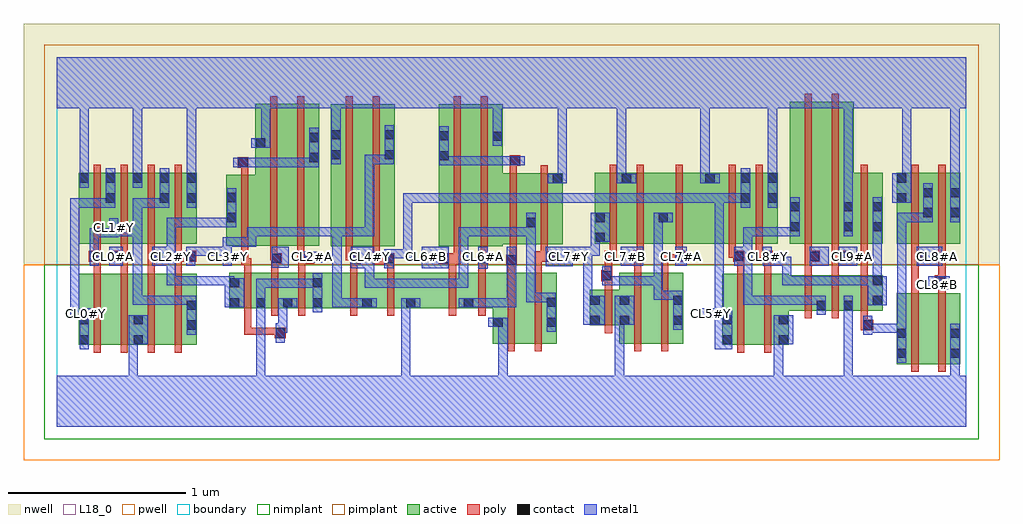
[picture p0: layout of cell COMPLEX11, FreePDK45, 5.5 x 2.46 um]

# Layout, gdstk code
import gdstk
lib = gdstk.Library(unit=1e-6, precision=1e-09)
def R(c, l, rs):  # rectangles x0, y0, x1, y1
    for r in rs: c.add(gdstk.rectangle(r[:2], r[2:], *l))
def A(c, l, x, y, w, h, nx, ny, dx, dy):  # array of equal rectangles
    R(c, l, [(x+i*dx, y+j*dy, x+i*dx+w, y+j*dy+h) for i in range(nx) for j in range(ny)])
active = (1, 0)
pwell = (2, 0)
nwell = (3, 0)
nimplant = (4, 0)
pimplant = (5, 0)
poly = (9, 0)
contact = (10, 0)
metal1 = (11, 0)
L18_0 = (18, 0)
boundary = (235, 0)

complex11 = lib.new_cell('COMPLEX11')
A(complex11, active, 0.272, 1.03, 0.06, 0.4, 4, 1, 0.152, 0)
A(complex11, active, 0.272, 1.03, 0.212, 0.4, 3, 1, 0.152, 0)
R(complex11, active, [(4.728,0.352,4.908,0.752), (4.908,0.352,5.088,0.752), (5.028,0.352,5.088,0.752), (4.728,0.356,4.788,0.752), (0.124,0.46,0.184,0.86), (0.124,0.46,0.304,0.86), (0.304,0.46,0.488,0.86), (0.428,0.46,0.608,0.86), (0.428,0.46,0.488,0.632), (0.608,0.46,0.788,0.86), (3.746,0.46,3.806,0.86), (3.746,0.46,3.926,0.86), (3.926,0.46,4.122,0.86), (4.062,0.46,4.122,0.654), (0.728,0.468,0.788,0.86), (2.454,0.468,2.634,0.868), (2.454,0.468,2.514,0.668), (2.634,0.468,2.814,0.868), (2.754,0.468,2.814,0.868), (3.166,0.468,3.346,0.868), (3.346,0.468,3.526,0.868), (3.466,0.468,3.526,0.868), (3,0.57,3.06,0.77), (3,0.57,3.226,0.77), (3.166,0.57,3.226,0.742), (4.062,0.654,4.334,0.854), (4.274,0.654,4.486,0.854), (4.274,0.654,4.334,0.714), (4.426,0.654,4.65,0.854), (4.426,0.654,4.486,0.854), (0.97,0.668,1.03,0.868), (0.97,0.668,1.178,0.868), (1.118,0.668,1.178,0.868), (1.118,0.668,1.33,0.868), (1.27,0.668,1.33,0.868), (1.27,0.668,1.498,0.868), (1.438,0.668,1.498,0.868), (1.438,0.668,1.776,0.868), (1.716,0.668,1.776,0.728), (1.716,0.668,2.022,0.868), (1.962,0.668,2.022,0.728), (1.962,0.668,2.348,0.868), (2.288,0.668,2.348,0.728), (2.288,0.668,2.514,0.868), (4.59,0.668,4.65,0.854), (1.542,1.016,1.722,1.816), (1.542,1.016,1.602,1.816), (1.722,1.016,1.902,1.816), (1.842,1.016,1.902,1.724), (2.15,1.016,2.33,1.816), (2.15,1.016,2.234,1.724), (2.33,1.016,2.51,1.816), (0.954,1.018,1.014,1.418), (0.954,1.018,1.178,1.418), (1.118,1.018,1.298,1.818), (1.298,1.018,1.478,1.818), (1.418,1.018,1.478,1.724), (2.45,1.028,2.7,1.428), (2.64,1.028,2.848,1.428), (0.124,1.03,0.184,1.43), (0.124,1.03,0.332,1.43), (3.03,1.03,3.238,1.43), (3.03,1.03,3.09,1.356), (3.178,1.03,3.238,1.43), (3.178,1.03,3.444,1.43), (3.384,1.03,3.708,1.43), (3.384,1.03,3.444,1.356), (3.648,1.03,3.708,1.43), (3.648,1.03,3.908,1.43), (3.848,1.03,3.908,1.43), (3.848,1.03,4.06,1.43), (4,1.03,4.06,1.43), (4.126,1.03,4.306,1.83), (4.126,1.03,4.21,1.724), (4.306,1.03,4.486,1.83), (4.426,1.03,4.65,1.43), (4.59,1.03,4.65,1.43), (4.728,1.03,4.788,1.43), (4.728,1.03,4.936,1.43), (4.876,1.03,4.936,1.43), (4.876,1.03,5.088,1.43), (5.028,1.03,5.088,1.43), (4.426,1.068,4.486,1.83), (1.118,1.072,1.178,1.628), (2.64,1.12,2.7,1.356), (2.788,1.164,2.848,1.428), (2.45,1.268,2.51,1.666)])
R(complex11, pwell, [(-0.188,-0.188,5.308,0.912)])
R(complex11, nwell, [(-0.188,0.912,5.308,2.268)])
R(complex11, nimplant, [(-0.072,-0.072,5.192,0.912)])
R(complex11, pimplant, [(-0.072,0.912,5.192,2.152)])
A(complex11, poly, 0.208, 0.416, 0.04, 0.488, 4, 2, 0.152, 0.57)
A(complex11, poly, 1.054, 0.624, 0.04, 0.288, 3, 1, 0.152, 0)
A(complex11, poly, 0.208, 0.864, 0.04, 0.106, 4, 1, 0.152, 0)
A(complex11, poly, 0.208, 0.95, 0.04, 0.076, 4, 1, 0.152, 0)
R(complex11, poly, [(4.812,0.308,4.852,0.796), (4.964,0.308,5.004,0.796), (3.83,0.416,3.87,0.904), (3.982,0.416,4.022,0.904), (2.538,0.424,2.578,0.912), (2.69,0.424,2.73,0.912), (3.25,0.424,3.29,0.912), (3.402,0.424,3.442,0.912), (1.228,0.498,1.288,0.558), (1.054,0.518,1.094,0.558), (1.054,0.518,1.094,0.558), (1.054,0.518,1.094,0.558), (1.054,0.518,1.268,0.558), (1.054,0.518,1.094,0.664), (3.086,0.526,3.126,0.814), (4.526,0.542,4.596,0.602), (4.526,0.562,4.566,0.65), (4.21,0.61,4.25,0.898), (4.362,0.61,4.402,0.898), (4.526,0.61,4.566,0.898), (1.652,0.624,1.692,0.912), (1.86,0.624,1.9,0.912), (2.208,0.624,2.248,0.912), (2.374,0.624,2.414,0.912), (4.812,0.756,4.852,0.97), (4.964,0.756,5.004,0.832), (3.086,0.774,3.126,0.86), (4.944,0.792,5.004,0.852), (4.964,0.812,5.004,1.026), (4.964,0.812,5.004,0.852), (4.964,0.812,5.004,0.852), (3.066,0.82,3.126,0.88), (3.086,0.84,3.126,0.99), (4.21,0.858,4.25,0.97), (4.362,0.858,4.402,0.97), (4.526,0.858,4.566,0.99), (3.83,0.864,3.87,0.97), (3.982,0.864,4.022,0.97), (1.054,0.872,1.094,0.948), (1.206,0.872,1.246,0.958), (1.358,0.872,1.398,0.958), (1.652,0.872,1.692,0.956), (1.86,0.872,1.9,0.956), (2.208,0.872,2.248,0.956), (2.374,0.872,2.414,0.956), (2.538,0.872,2.578,0.948), (2.69,0.872,2.73,0.968), (3.25,0.872,3.29,0.97), (3.402,0.872,3.442,0.97), (1.038,0.908,1.078,0.948), (1.038,0.908,1.078,0.948), (1.038,0.908,1.078,1.014), (1.038,0.908,1.094,0.948), (2.53,0.908,2.59,0.968), (1.652,0.916,1.712,0.976), (1.778,0.916,1.9,0.976), (1.86,0.916,1.9,0.956), (1.86,0.916,1.9,0.956), (2.15,0.916,2.274,0.976), (2.208,0.916,2.248,0.956), (2.208,0.916,2.248,0.956), (2.37,0.916,2.43,0.976), (1.206,0.918,1.266,0.978), (1.358,0.918,1.448,0.978), (2.55,0.928,2.59,0.968), (2.55,0.928,2.59,0.968), (2.55,0.928,2.59,1.024), (2.69,0.928,2.81,0.988), (0.18,0.93,0.248,0.99), (0.208,0.93,0.248,0.97), (0.208,0.93,0.248,0.97), (0.314,0.93,0.4,0.99), (0.512,0.93,0.594,0.99), (0.664,0.93,0.704,0.97), (0.664,0.93,0.704,0.97), (0.664,0.93,0.784,0.99), (3.246,0.93,3.306,0.99), (3.25,0.93,3.29,0.97), (3.25,0.93,3.29,0.97), (3.402,0.93,3.518,0.97), (3.478,0.93,3.518,0.97), (3.478,0.93,3.538,0.99), (3.81,0.93,3.87,0.99), (3.97,0.93,4.03,0.99), (4.21,0.93,4.25,0.97), (4.21,0.93,4.25,0.97), (4.21,0.93,4.296,0.99), (4.362,0.93,4.402,0.97), (4.362,0.93,4.402,0.97), (4.362,0.93,4.46,0.99), (4.812,0.93,4.852,0.97), (4.812,0.93,4.852,0.97), (4.812,0.93,4.898,0.99), (1.626,0.936,1.666,1.012), (1.626,0.936,1.692,0.976), (1.652,0.936,1.692,0.976), (1.778,0.936,1.818,1.012), (2.234,0.936,2.274,1.012), (2.386,0.936,2.426,0.976), (2.386,0.936,2.426,0.976), (2.386,0.936,2.426,1.012), (1.202,0.938,1.242,1.014), (1.202,0.938,1.246,0.978), (1.206,0.938,1.246,0.978), (1.354,0.938,1.394,1.014), (1.354,0.938,1.398,0.978), (1.358,0.938,1.398,0.978), (2.724,0.948,2.764,0.988), (2.724,0.948,2.764,0.988), (2.724,0.948,2.764,1.024), (0.36,0.95,0.4,0.99), (0.36,0.95,0.4,0.99), (0.512,0.95,0.552,0.99), (0.512,0.95,0.552,0.99), (3.086,0.95,3.154,0.99), (3.114,0.95,3.154,1.026), (3.266,0.95,3.306,1.026), (3.484,0.95,3.524,1.026), (3.784,0.95,3.824,1.026), (3.784,0.95,3.85,0.99), (3.81,0.95,3.85,0.99), (3.936,0.95,3.976,1.026), (3.936,0.95,4.01,0.99), (3.97,0.95,4.01,0.99), (4.21,0.95,4.25,1.026), (4.362,0.95,4.402,1.026), (4.526,0.95,4.566,0.99), (4.526,0.95,4.566,0.99), (4.526,0.95,4.566,0.99), (4.526,0.95,4.566,1.026), (4.812,0.95,4.852,1.026), (1.626,0.972,1.666,1.86), (1.778,0.972,1.818,1.86), (2.234,0.972,2.274,1.86), (2.386,0.972,2.426,1.86), (1.038,0.974,1.078,1.462), (1.202,0.974,1.242,1.862), (1.354,0.974,1.394,1.862), (2.55,0.984,2.59,1.472), (2.724,0.984,2.764,1.472), (3.114,0.986,3.154,1.474), (3.266,0.986,3.306,1.474), (3.484,0.986,3.524,1.474), (3.784,0.986,3.824,1.474), (3.936,0.986,3.976,1.474), (4.21,0.986,4.25,1.874), (4.362,0.986,4.402,1.874), (4.526,0.986,4.566,1.474), (4.812,0.986,4.852,1.474), (4.964,0.986,5.004,1.474), (1.038,1.422,1.078,1.498), (2.55,1.432,2.59,1.508), (1.018,1.458,1.078,1.518), (2.55,1.468,2.61,1.528)])
A(complex11, contact, 0.276, 1.374, 0.052, 0.052, 4, 1, 0.152, 0)
R(complex11, contact, [(4.732,0.388,4.784,0.44), (5.032,0.388,5.084,0.44), (0.128,0.464,0.18,0.516), (0.432,0.464,0.484,0.516), (3.75,0.464,3.802,0.516), (4.066,0.464,4.118,0.516), (4.732,0.5,4.784,0.552), (5.032,0.5,5.084,0.552), (1.232,0.502,1.284,0.554), (0.732,0.546,0.784,0.598), (4.54,0.546,4.592,0.598), (2.458,0.562,2.51,0.614), (2.758,0.562,2.81,0.614), (3.004,0.574,3.056,0.626), (3.17,0.574,3.222,0.626), (3.47,0.574,3.522,0.626), (0.128,0.576,0.18,0.628), (0.432,0.576,0.484,0.628), (3.75,0.576,3.802,0.628), (4.066,0.576,4.118,0.628), (0.732,0.658,0.784,0.71), (4.278,0.658,4.33,0.71), (4.43,0.658,4.482,0.71), (0.974,0.672,1.026,0.724), (1.122,0.672,1.174,0.724), (1.274,0.672,1.326,0.724), (1.442,0.672,1.494,0.724), (1.72,0.672,1.772,0.724), (1.966,0.672,2.018,0.724), (2.292,0.672,2.344,0.724), (2.758,0.674,2.81,0.726), (4.594,0.684,4.646,0.736), (3.004,0.686,3.056,0.738), (3.17,0.686,3.222,0.738), (3.47,0.686,3.522,0.738), (0.974,0.784,1.026,0.836), (1.442,0.784,1.494,0.836), (4.594,0.796,4.646,0.848), (4.948,0.796,5,0.848), (3.07,0.824,3.122,0.876), (2.534,0.912,2.586,0.964), (1.656,0.92,1.708,0.972), (1.844,0.92,1.896,0.972), (2.154,0.92,2.206,0.972), (2.374,0.92,2.426,0.972), (1.21,0.922,1.262,0.974), (1.392,0.922,1.444,0.974), (2.754,0.932,2.806,0.984), (0.184,0.934,0.236,0.986), (0.318,0.934,0.37,0.986), (0.538,0.934,0.59,0.986), (0.728,0.934,0.78,0.986), (3.25,0.934,3.302,0.986), (3.482,0.934,3.534,0.986), (3.814,0.934,3.866,0.986), (3.974,0.934,4.026,0.986), (4.24,0.934,4.292,0.986), (4.404,0.934,4.456,0.986), (4.842,0.934,4.894,0.986), (3.034,1.04,3.086,1.092), (4.13,1.1,4.182,1.152), (4.43,1.1,4.482,1.152), (4.594,1.1,4.646,1.152), (2.644,1.124,2.696,1.176), (0.958,1.152,1.01,1.204), (3.034,1.152,3.086,1.204), (3.388,1.152,3.44,1.204), (4.88,1.18,4.932,1.232), (5.032,1.18,5.084,1.232), (4.13,1.212,4.182,1.264), (4.43,1.212,4.482,1.264), (4.594,1.212,4.646,1.264), (0.276,1.262,0.328,1.314), (0.58,1.262,0.632,1.314), (0.732,1.262,0.784,1.314), (3.852,1.262,3.904,1.314), (4.004,1.262,4.056,1.314), (4.732,1.262,4.784,1.314), (0.958,1.264,1.01,1.316), (4.88,1.292,4.932,1.344), (5.032,1.292,5.084,1.344), (2.792,1.372,2.844,1.424), (3.182,1.372,3.234,1.424), (3.652,1.372,3.704,1.424), (0.128,1.374,0.18,1.426), (3.852,1.374,3.904,1.426), (4.004,1.374,4.056,1.426), (4.732,1.374,4.784,1.426), (1.022,1.462,1.074,1.514), (2.554,1.472,2.606,1.524), (1.422,1.49,1.474,1.542), (2.154,1.5,2.206,1.552), (1.546,1.506,1.598,1.558), (1.846,1.506,1.898,1.558), (1.122,1.572,1.174,1.624), (1.422,1.602,1.474,1.654), (2.454,1.61,2.506,1.662), (2.154,1.612,2.206,1.664), (1.546,1.618,1.598,1.67), (1.846,1.618,1.898,1.67)])
R(complex11, metal1, [(0,0,5.12,0.288), (0.404,0.236,0.456,0.516), (1.122,0.236,1.174,0.288), (1.122,0.236,1.174,0.288), (1.122,0.236,1.174,0.288), (1.122,0.236,1.174,0.288), (1.122,0.236,1.174,0.288), (1.122,0.236,1.174,0.288), (1.122,0.236,1.174,0.696), (1.938,0.236,1.99,0.288), (1.938,0.236,1.99,0.288), (1.938,0.236,1.99,0.288), (1.938,0.236,1.99,0.288), (1.938,0.236,1.99,0.288), (1.938,0.236,1.99,0.288), (1.938,0.236,1.99,0.724), (2.486,0.236,2.538,0.614), (3.142,0.236,3.194,0.626), (4.038,0.236,4.09,0.288), (4.038,0.236,4.09,0.288), (4.038,0.236,4.09,0.516), (4.43,0.236,4.482,0.288), (4.43,0.236,4.482,0.288), (4.43,0.236,4.482,0.682), (5.032,0.236,5.084,0.288), (5.032,0.236,5.084,0.288), (5.032,0.236,5.084,0.412), (4.732,0.36,4.784,0.58), (5.032,0.36,5.084,0.58), (0.128,0.436,0.18,0.656), (3.704,0.436,3.802,0.656), (0.404,0.464,0.456,0.516), (0.404,0.464,0.456,0.516), (0.404,0.464,0.512,0.628), (4.038,0.464,4.146,0.628), (1.232,0.474,1.284,0.582), (0.732,0.518,0.784,0.738), (4.54,0.518,4.592,0.626), (4.54,0.528,4.592,0.58), (4.54,0.528,4.592,0.58), (4.54,0.528,4.592,0.58), (4.54,0.528,4.592,0.58), (4.54,0.528,4.784,0.58), (4.732,0.528,4.784,0.58), (4.732,0.528,4.784,0.58), (4.732,0.528,4.784,1.204), (1.232,0.53,1.298,0.582), (1.246,0.53,1.298,0.582), (1.246,0.53,1.298,0.724), (2.758,0.534,2.81,0.754), (3.47,0.546,3.522,0.766), (2.43,0.562,2.538,0.614), (2.486,0.562,2.538,0.614), (2.486,0.562,2.538,0.614), (2.964,0.574,3.084,0.738), (3.142,0.574,3.194,0.626), (3.142,0.574,3.194,0.626), (3.142,0.574,3.25,0.738), (0.128,0.604,0.18,0.666), (3.704,0.604,3.756,0.666), (0.074,0.614,0.126,0.666), (0.074,0.614,0.126,0.666), (0.074,0.614,0.126,1.286), (0.074,0.614,0.214,0.666), (3.626,0.614,3.756,0.666), (3.704,0.614,3.756,0.666), (3.704,0.614,3.756,0.666), (3.704,0.614,3.756,1.314), (4.278,0.63,4.33,0.738), (4.43,0.63,4.482,0.682), (4.43,0.63,4.482,0.682), (4.43,0.63,4.482,0.682), (4.43,0.63,4.482,0.682), (4.43,0.63,4.482,0.738), (1.122,0.644,1.174,0.752), (1.442,0.644,1.494,0.864), (0.946,0.672,1.054,0.836), (1.246,0.672,1.354,0.724), (1.552,0.672,1.604,0.724), (1.552,0.672,1.604,0.724), (1.552,0.672,1.604,0.724), (1.552,0.672,1.744,0.724), (1.552,0.672,1.604,1.124), (1.692,0.672,1.744,0.724), (1.692,0.672,1.744,0.724), (1.692,0.672,1.8,0.724), (1.938,0.672,2.046,0.724), (2.264,0.672,2.372,0.724), (2.32,0.672,2.426,0.724), (2.374,0.672,2.426,0.724), (2.374,0.672,2.586,0.724), (2.534,0.672,2.586,0.724), (2.534,0.672,2.586,0.958), (4.566,0.684,4.674,0.848), (0.428,0.686,0.48,0.738), (0.428,0.686,0.48,0.738), (0.428,0.686,0.48,0.738), (0.428,0.686,0.59,0.738), (0.428,0.686,0.48,1.124), (0.538,0.686,0.59,0.738), (0.538,0.686,0.59,0.738), (0.538,0.686,0.59,0.738), (0.538,0.686,0.784,0.738), (0.732,0.686,0.784,0.738), (0.732,0.686,0.784,0.738), (2.964,0.686,3.016,1.014), (3.864,0.686,3.916,0.738), (3.864,0.686,4.026,0.738), (3.864,0.686,3.916,0.958), (3.974,0.686,4.026,0.738), (3.974,0.686,4.026,0.738), (3.974,0.686,4.026,0.738), (3.974,0.686,4.22,0.738), (4.168,0.686,4.22,0.738), (4.168,0.686,4.22,0.738), (4.168,0.686,4.22,0.738), (4.168,0.686,4.33,0.738), (1.122,0.7,1.174,0.834), (2.644,0.702,2.696,0.754), (2.644,0.702,2.81,0.754), (2.644,0.702,2.696,1.124), (2.758,0.702,2.81,0.754), (2.758,0.702,2.81,0.754), (3.36,0.714,3.412,0.766), (3.36,0.714,3.522,0.766), (3.36,0.714,3.412,0.848), (3.47,0.714,3.522,0.766), (3.47,0.714,3.522,0.766), (4.906,0.774,5.028,0.848), (1.122,0.782,1.174,0.834), (1.122,0.782,1.284,0.834), (1.232,0.782,1.284,0.834), (1.232,0.782,1.284,0.834), (1.232,0.782,1.284,0.834), (1.232,0.782,1.488,0.834), (1.436,0.782,1.488,0.834), (1.436,0.782,1.494,0.834), (1.734,0.782,1.786,0.944), (1.734,0.782,1.894,0.834), (1.842,0.782,1.894,0.834), (1.842,0.782,1.978,0.834), (1.926,0.782,1.978,0.834), (1.926,0.782,2.206,0.834), (2.154,0.782,2.206,0.834), (2.154,0.782,2.206,0.834), (2.154,0.782,2.206,0.834), (2.154,0.782,2.316,0.834), (2.264,0.782,2.316,0.834), (2.264,0.782,2.316,1.124), (0.946,0.784,0.998,0.848), (0.618,0.796,0.78,0.848), (0.618,0.796,0.67,0.958), (0.728,0.796,0.78,0.848), (0.728,0.796,0.78,0.848), (0.728,0.796,0.78,0.848), (0.728,0.796,0.998,0.848), (0.946,0.796,0.998,0.848), (3.07,0.796,3.122,0.904), (3.07,0.796,3.302,0.848), (3.25,0.796,3.302,0.848), (3.25,0.796,3.302,0.848), (3.25,0.796,3.302,0.848), (3.25,0.796,3.412,0.848), (3.36,0.796,3.412,0.848), (3.36,0.796,3.412,0.848), (3.36,0.796,3.412,0.848), (3.36,0.796,3.412,1.204), (4.084,0.796,4.136,0.848), (4.084,0.796,4.136,0.848), (4.084,0.796,4.33,0.848), (4.084,0.796,4.136,0.958), (4.278,0.796,4.33,0.848), (4.278,0.796,4.33,0.848), (4.278,0.796,4.33,0.848), (4.278,0.796,4.482,0.848), (4.43,0.796,4.482,0.848), (4.43,0.796,4.646,0.848), (4.594,0.796,4.646,0.848), (4.594,0.796,4.646,0.848), (4.594,0.796,4.646,0.848), (4.594,0.796,4.646,0.848), (4.594,0.796,4.646,1.124), (2.534,0.884,2.586,0.992), (2.374,0.89,2.426,1.014), (1.656,0.892,1.786,1.014), (1.734,0.892,1.786,0.944), (1.844,0.892,1.896,1), (2.054,0.892,2.206,1.014), (1.21,0.894,1.306,1.014), (2.754,0.904,2.906,1.014), (0.184,0.906,0.236,1.118), (0.294,0.906,0.37,1.014), (0.538,0.906,0.666,1.014), (0.614,0.906,0.67,0.958), (0.618,0.906,0.67,1.176), (0.728,0.906,0.78,1.014), (0.934,0.906,0.986,1.066), (2.534,0.906,2.586,0.958), (2.534,0.906,2.586,1.014), (3.174,0.906,3.302,1.014), (3.482,0.906,3.546,1.014), (3.814,0.906,3.866,1.014), (3.814,0.906,3.916,0.958), (3.864,0.906,3.916,0.958), (3.864,0.906,3.916,1.124), (3.974,0.906,4.026,0.958), (3.974,0.906,4.026,0.958), (3.974,0.906,4.026,1.014), (3.974,0.906,4.136,0.958), (4.24,0.906,4.346,1.014), (4.404,0.906,4.506,1.014), (4.842,0.906,4.986,1.014), (1.364,0.922,1.494,0.986), (1.844,0.948,1.996,1), (1.944,0.948,1.996,1), (1.944,0.948,2.002,1), (1.95,0.948,2.002,1), (1.95,0.948,2.002,1.314), (0.728,0.962,0.78,1.014), (0.728,0.962,0.78,1.014), (0.728,0.962,0.986,1.014), (2.854,0.962,2.906,1.014), (2.854,0.962,2.906,1.014), (2.854,0.962,3.016,1.014), (2.964,0.962,3.016,1.014), (2.964,0.962,3.016,1.014), (2.964,0.962,3.058,1.014), (3.006,0.962,3.058,1.092), (0.934,1.014,0.986,1.066), (0.934,1.014,0.986,1.066), (0.934,1.014,1.124,1.066), (1.072,1.014,1.124,1.124), (3.006,1.04,3.114,1.204), (0.184,1.066,0.346,1.118), (0.294,1.066,0.346,1.174), (0.294,1.072,0.48,1.124), (0.428,1.072,0.48,1.124), (0.428,1.072,0.48,1.124), (0.428,1.072,0.48,1.124), (0.428,1.072,0.48,1.248), (1.072,1.072,1.284,1.124), (1.232,1.072,1.284,1.124), (1.232,1.072,1.284,1.124), (1.232,1.072,1.284,1.124), (1.232,1.072,1.416,1.124), (1.364,1.072,1.416,1.124), (1.364,1.072,1.416,1.124), (1.364,1.072,1.416,1.124), (1.364,1.072,1.604,1.124), (1.552,1.072,1.604,1.124), (1.552,1.072,1.604,1.124), (1.552,1.072,1.604,1.124), (1.552,1.072,1.786,1.124), (1.734,1.072,1.786,1.124), (1.734,1.072,1.786,1.53), (2.264,1.072,2.316,1.124), (2.264,1.072,2.468,1.124), (2.416,1.072,2.468,1.124), (2.416,1.072,2.586,1.124), (2.534,1.072,2.586,1.124), (2.534,1.072,2.586,1.124), (2.534,1.072,2.586,1.124), (2.534,1.072,2.696,1.124), (2.644,1.072,2.696,1.124), (2.644,1.072,2.696,1.124), (2.644,1.072,2.696,1.124), (2.644,1.072,2.696,1.148), (3.864,1.072,3.916,1.124), (3.864,1.072,4.026,1.124), (3.974,1.072,4.026,1.124), (3.974,1.072,4.026,1.124), (3.974,1.072,4.026,1.124), (3.974,1.072,4.182,1.124), (4.13,1.072,4.182,1.124), (4.13,1.072,4.182,1.124), (4.13,1.072,4.182,1.292), (4.43,1.072,4.482,1.292), (4.594,1.072,4.646,1.124), (4.594,1.072,4.646,1.124), (4.594,1.072,4.646,1.292), (2.644,1.096,2.696,1.204), (0.618,1.124,0.67,1.176), (0.618,1.124,0.67,1.176), (0.618,1.124,0.67,1.176), (0.618,1.124,0.876,1.176), (0.824,1.124,0.876,1.176), (0.824,1.124,0.876,1.176), (0.824,1.124,0.876,1.176), (0.824,1.124,1.01,1.176), (0.958,1.124,1.01,1.344), (3.36,1.152,3.468,1.204), (4.732,1.152,4.784,1.204), (4.732,1.152,4.784,1.204), (4.732,1.152,4.784,1.204), (4.732,1.152,4.784,1.204), (4.732,1.152,4.784,1.204), (4.732,1.152,4.784,1.204), (4.732,1.152,4.784,1.204), (4.732,1.152,4.932,1.204), (4.88,1.152,4.932,1.372), (5.032,1.152,5.084,1.372), (0.428,1.196,0.48,1.248), (0.428,1.196,0.48,1.286), (0.074,1.234,0.126,1.286), (0.074,1.234,0.126,1.286), (0.074,1.234,0.126,1.286), (0.074,1.234,0.328,1.286), (0.276,1.234,0.328,1.454), (0.428,1.234,0.48,1.286), (0.428,1.234,0.632,1.286), (0.58,1.234,0.632,1.286), (0.58,1.234,0.632,1.286), (0.58,1.234,0.632,1.454), (0.732,1.234,0.784,1.454), (3.852,1.234,3.904,1.454), (4.004,1.234,4.056,1.454), (4.43,1.24,4.482,1.844), (1.95,1.262,2.002,1.314), (1.95,1.262,2.316,1.314), (2.264,1.262,2.316,1.314), (2.264,1.262,2.316,1.314), (2.264,1.262,2.316,1.314), (2.264,1.262,2.426,1.314), (2.374,1.262,2.426,1.314), (2.374,1.262,2.586,1.314), (2.534,1.262,2.586,1.314), (2.534,1.262,2.586,1.314), (2.534,1.262,2.586,1.314), (2.534,1.262,2.696,1.314), (2.644,1.262,2.696,1.314), (2.644,1.262,2.696,1.314), (2.644,1.262,2.696,1.314), (2.644,1.262,2.806,1.314), (2.754,1.262,2.806,1.314), (2.754,1.262,2.806,1.314), (2.754,1.262,2.806,1.314), (2.754,1.262,3.016,1.314), (2.964,1.262,3.016,1.314), (2.964,1.262,3.016,1.314), (2.964,1.262,3.016,1.314), (2.964,1.262,3.286,1.314), (3.234,1.262,3.286,1.314), (3.234,1.262,3.286,1.314), (3.234,1.262,3.286,1.314), (3.234,1.262,3.412,1.314), (3.36,1.262,3.412,1.314), (3.36,1.262,3.412,1.314), (3.36,1.262,3.412,1.314), (3.36,1.262,3.756,1.314), (3.704,1.262,3.756,1.314), (3.704,1.262,3.756,1.314), (3.704,1.262,3.756,1.314), (3.704,1.262,3.756,1.314), (3.704,1.262,3.756,1.314), (3.704,1.262,3.904,1.314), (3.852,1.262,3.904,1.314), (3.852,1.262,3.904,1.314), (4.704,1.262,4.812,1.426), (5.032,1.32,5.084,1.372), (5.032,1.32,5.084,1.372), (5.032,1.32,5.084,1.844), (0.128,1.346,0.18,1.454), (0.428,1.346,0.48,1.454), (2.764,1.372,2.872,1.424), (2.82,1.372,2.872,1.844), (3.154,1.372,3.206,1.424), (3.154,1.372,3.206,1.424), (3.154,1.372,3.206,1.844), (3.154,1.372,3.262,1.424), (3.624,1.372,3.676,1.424), (3.624,1.372,3.676,1.424), (3.624,1.372,3.676,1.424), (3.624,1.372,3.676,1.424), (3.624,1.372,3.676,1.424), (3.624,1.372,3.676,1.424), (3.624,1.372,3.676,1.844), (3.624,1.372,3.732,1.424), (4.76,1.374,4.812,1.844), (0.128,1.402,0.18,1.844), (0.428,1.402,0.48,1.844), (0.732,1.402,0.784,1.454), (0.732,1.402,0.784,1.454), (0.732,1.402,0.784,1.844), (4.004,1.402,4.056,1.454), (4.004,1.402,4.056,1.454), (4.004,1.402,4.056,1.454), (4.004,1.402,4.056,1.454), (4.004,1.402,4.056,1.454), (4.004,1.402,4.056,1.454), (4.004,1.402,4.056,1.844), (0.994,1.462,1.102,1.514), (1.05,1.462,1.102,1.514), (1.05,1.462,1.102,1.514), (1.05,1.462,1.284,1.514), (1.232,1.462,1.284,1.514), (1.232,1.462,1.284,1.514), (1.232,1.462,1.284,1.514), (1.232,1.462,1.474,1.514), (1.422,1.462,1.474,1.514), (1.422,1.462,1.474,1.514), (1.422,1.462,1.474,1.682), (2.154,1.472,2.206,1.524), (2.154,1.472,2.206,1.524), (2.154,1.472,2.206,1.692), (2.154,1.472,2.372,1.524), (2.32,1.472,2.372,1.524), (2.32,1.472,2.426,1.524), (2.374,1.472,2.426,1.524), (2.374,1.472,2.578,1.524), (2.526,1.472,2.578,1.524), (2.526,1.472,2.578,1.524), (2.526,1.472,2.634,1.524), (1.546,1.478,1.598,1.698), (1.734,1.478,1.786,1.53), (1.734,1.478,1.894,1.53), (1.842,1.478,1.894,1.53), (1.842,1.478,1.898,1.53), (1.846,1.478,1.898,1.698), (1.094,1.572,1.202,1.624), (1.15,1.572,1.202,1.844), (2.454,1.582,2.506,1.69), (2.454,1.638,2.506,1.844), (1.546,1.646,1.598,1.844), (0,1.792,5.12,2.08), (0.128,1.792,0.18,1.844), (0.128,1.792,0.18,1.844), (0.128,1.792,0.18,1.844), (0.128,1.792,0.18,1.844), (0.128,1.792,0.18,1.844), (0.128,1.792,0.18,1.844), (0.128,1.792,0.18,1.844), (0.128,1.792,0.18,1.844), (0.428,1.792,0.48,1.844), (0.428,1.792,0.48,1.844), (0.428,1.792,0.48,1.844), (0.428,1.792,0.48,1.844), (0.428,1.792,0.48,1.844), (0.428,1.792,0.48,1.844), (0.428,1.792,0.48,1.844), (0.428,1.792,0.48,1.844), (0.732,1.792,0.784,1.844), (0.732,1.792,0.784,1.844), (0.732,1.792,0.784,1.844), (0.732,1.792,0.784,1.844), (0.732,1.792,0.784,1.844), (0.732,1.792,0.784,1.844), (2.82,1.792,2.872,1.844), (2.82,1.792,2.872,1.844), (2.82,1.792,2.872,1.844), (2.82,1.792,2.872,1.844), (2.82,1.792,2.872,1.844), (2.82,1.792,2.872,1.844), (2.82,1.792,2.872,1.844), (2.82,1.792,2.872,1.844), (3.154,1.792,3.206,1.844), (3.154,1.792,3.206,1.844), (3.154,1.792,3.206,1.844), (3.154,1.792,3.206,1.844), (3.154,1.792,3.206,1.844), (3.154,1.792,3.206,1.844), (3.624,1.792,3.676,1.844), (3.624,1.792,3.676,1.844), (4.004,1.792,4.056,1.844), (4.004,1.792,4.056,1.844), (4.76,1.792,4.812,1.844), (4.76,1.792,4.812,1.844), (4.76,1.792,4.812,1.844), (4.76,1.792,4.812,1.844), (4.76,1.792,4.812,1.844), (4.76,1.792,4.812,1.844), (4.76,1.792,4.812,1.844), (4.76,1.792,4.812,1.844), (5.032,1.792,5.084,1.844), (5.032,1.792,5.084,1.844), (5.032,1.792,5.084,1.844), (5.032,1.792,5.084,1.844), (5.032,1.792,5.084,1.844), (5.032,1.792,5.084,1.844)])
A(complex11, L18_0, 0.294, 0.934, 0.052, 0.052, 4, 1, 0.32, 0)
A(complex11, L18_0, 1.414, 0.934, 0.052, 0.052, 4, 1, 0.32, 0)
A(complex11, L18_0, 2.534, 0.934, 0.052, 0.052, 5, 1, 0.32, 0)
R(complex11, L18_0, [(0,0,5.12,0.288), (0.404,0.236,0.456,0.516), (1.122,0.236,1.174,0.288), (1.122,0.236,1.174,0.288), (1.122,0.236,1.174,0.288), (1.122,0.236,1.174,0.288), (1.122,0.236,1.174,0.288), (1.122,0.236,1.174,0.288), (1.122,0.236,1.174,0.696), (1.938,0.236,1.99,0.288), (1.938,0.236,1.99,0.288), (1.938,0.236,1.99,0.288), (1.938,0.236,1.99,0.288), (1.938,0.236,1.99,0.288), (1.938,0.236,1.99,0.288), (1.938,0.236,1.99,0.724), (2.486,0.236,2.538,0.614), (3.142,0.236,3.194,0.626), (4.038,0.236,4.09,0.288), (4.038,0.236,4.09,0.288), (4.038,0.236,4.09,0.516), (4.43,0.236,4.482,0.288), (4.43,0.236,4.482,0.288), (4.43,0.236,4.482,0.682), (5.032,0.236,5.084,0.288), (5.032,0.236,5.084,0.288), (5.032,0.236,5.084,0.412), (5.032,0.36,5.084,0.58), (0.128,0.436,0.18,0.656), (3.704,0.436,3.802,0.656), (0.404,0.464,0.456,0.516), (0.404,0.464,0.456,0.516), (0.404,0.464,0.512,0.628), (4.038,0.464,4.146,0.628), (0.732,0.518,0.784,0.738), (2.758,0.534,2.81,0.754), (2.43,0.562,2.538,0.614), (2.486,0.562,2.538,0.614), (2.486,0.562,2.538,0.614), (2.964,0.574,3.084,0.738), (3.142,0.574,3.194,0.626), (3.142,0.574,3.194,0.626), (3.142,0.574,3.25,0.738), (0.128,0.604,0.18,0.666), (3.704,0.604,3.756,0.666), (0.074,0.614,0.214,0.666), (0.074,0.614,0.126,0.666), (0.074,0.614,0.126,0.666), (0.074,0.614,0.126,1.286), (0.134,0.614,0.186,0.666), (3.626,0.614,3.756,0.666), (3.654,0.614,3.706,0.666), (3.704,0.614,3.756,0.666), (3.704,0.614,3.756,0.666), (3.704,0.614,3.756,1.314), (4.278,0.63,4.33,0.738), (4.43,0.63,4.482,0.682), (4.43,0.63,4.482,0.682), (4.43,0.63,4.482,0.682), (4.43,0.63,4.482,0.682), (4.43,0.63,4.482,0.738), (1.122,0.644,1.174,0.752), (1.442,0.644,1.494,0.864), (0.946,0.672,1.054,0.836), (1.552,0.672,1.604,0.724), (1.552,0.672,1.604,0.724), (1.552,0.672,1.604,0.724), (1.552,0.672,1.604,1.124), (1.552,0.672,1.744,0.724), (1.692,0.672,1.744,0.724), (1.692,0.672,1.744,0.724), (1.692,0.672,1.8,0.724), (1.938,0.672,2.046,0.724), (2.264,0.672,2.372,0.724), (2.32,0.672,2.426,0.724), (2.374,0.672,2.426,0.724), (2.374,0.672,2.586,0.724), (2.534,0.672,2.586,0.724), (2.534,0.672,2.586,0.958), (4.566,0.684,4.674,0.848), (0.428,0.686,0.48,0.738), (0.428,0.686,0.48,0.738), (0.428,0.686,0.48,0.738), (0.428,0.686,0.59,0.738), (0.428,0.686,0.48,1.124), (0.538,0.686,0.59,0.738), (0.538,0.686,0.59,0.738), (0.538,0.686,0.59,0.738), (0.538,0.686,0.784,0.738), (0.732,0.686,0.784,0.738), (0.732,0.686,0.784,0.738), (2.964,0.686,3.016,1.014), (3.864,0.686,3.916,0.738), (3.864,0.686,4.026,0.738), (3.864,0.686,3.916,0.958), (3.974,0.686,4.026,0.738), (3.974,0.686,4.026,0.738), (3.974,0.686,4.026,0.738), (3.974,0.686,4.22,0.738), (4.168,0.686,4.22,0.738), (4.168,0.686,4.22,0.738), (4.168,0.686,4.22,0.738), (4.168,0.686,4.33,0.738), (1.122,0.7,1.174,0.834), (2.644,0.702,2.696,0.754), (2.644,0.702,2.696,1.124), (2.644,0.702,2.81,0.754), (2.758,0.702,2.81,0.754), (2.758,0.702,2.81,0.754), (4.906,0.774,5.028,0.848), (4.934,0.774,4.986,0.826), (1.122,0.782,1.174,0.834), (1.122,0.782,1.284,0.834), (1.232,0.782,1.284,0.834), (1.232,0.782,1.284,0.834), (1.232,0.782,1.284,0.834), (1.232,0.782,1.488,0.834), (1.436,0.782,1.488,0.834), (1.436,0.782,1.494,0.834), (1.734,0.782,1.786,0.944), (1.734,0.782,1.894,0.834), (1.842,0.782,1.894,0.834), (1.842,0.782,1.978,0.834), (1.926,0.782,1.978,0.834), (1.926,0.782,2.206,0.834), (2.154,0.782,2.206,0.834), (2.154,0.782,2.206,0.834), (2.154,0.782,2.206,0.834), (2.154,0.782,2.316,0.834), (2.264,0.782,2.316,0.834), (2.264,0.782,2.316,1.124), (0.946,0.784,0.998,0.848), (0.618,0.796,0.78,0.848), (0.618,0.796,0.67,0.958), (0.728,0.796,0.78,0.848), (0.728,0.796,0.78,0.848), (0.728,0.796,0.78,0.848), (0.728,0.796,0.998,0.848), (0.946,0.796,0.998,0.848), (4.084,0.796,4.136,0.848), (4.084,0.796,4.136,0.848), (4.084,0.796,4.136,0.958), (4.084,0.796,4.33,0.848), (4.278,0.796,4.33,0.848), (4.278,0.796,4.33,0.848), (4.278,0.796,4.33,0.848), (4.278,0.796,4.482,0.848), (4.43,0.796,4.482,0.848), (4.43,0.796,4.646,0.848), (4.594,0.796,4.646,0.848), (4.594,0.796,4.646,0.848), (4.594,0.796,4.646,0.848), (4.594,0.796,4.646,0.848), (4.594,0.796,4.646,1.124), (2.534,0.884,2.586,0.992), (2.374,0.89,2.426,1.014), (1.656,0.892,1.786,1.014), (1.734,0.892,1.786,0.944), (1.844,0.892,1.896,1), (2.054,0.892,2.206,1.014), (1.21,0.894,1.306,1.014), (2.754,0.904,2.906,1.014), (0.184,0.906,0.236,1.118), (0.294,0.906,0.37,1.014), (0.538,0.906,0.666,1.014), (0.614,0.906,0.67,0.958), (0.618,0.906,0.67,1.176), (0.728,0.906,0.78,1.014), (0.934,0.906,0.986,1.066), (2.534,0.906,2.586,0.958), (2.534,0.906,2.586,1.014), (3.174,0.906,3.302,1.014), (3.482,0.906,3.546,1.014), (3.814,0.906,3.866,1.014), (3.814,0.906,3.916,0.958), (3.864,0.906,3.916,0.958), (3.864,0.906,3.916,1.124), (3.974,0.906,4.026,0.958), (3.974,0.906,4.026,0.958), (3.974,0.906,4.026,1.014), (3.974,0.906,4.136,0.958), (4.24,0.906,4.346,1.014), (4.404,0.906,4.506,1.014), (4.842,0.906,4.986,1.014), (1.364,0.922,1.494,0.986), (3.974,0.934,4.026,0.986), (4.294,0.934,4.346,0.986), (4.454,0.934,4.506,0.986), (4.934,0.934,4.986,0.986), (1.844,0.948,1.996,1), (1.944,0.948,1.996,1), (1.944,0.948,2.002,1), (1.95,0.948,2.002,1), (1.95,0.948,2.002,1.314), (0.728,0.962,0.78,1.014), (0.728,0.962,0.78,1.014), (0.728,0.962,0.986,1.014), (2.854,0.962,2.906,1.014), (2.854,0.962,2.906,1.014), (2.854,0.962,3.016,1.014), (2.964,0.962,3.016,1.014), (2.964,0.962,3.016,1.014), (2.964,0.962,3.058,1.014), (3.006,0.962,3.058,1.092), (0.934,1.014,0.986,1.066), (0.934,1.014,0.986,1.066), (0.934,1.014,1.124,1.066), (1.072,1.014,1.124,1.124), (3.006,1.04,3.114,1.204), (0.184,1.066,0.346,1.118), (0.294,1.066,0.346,1.174), (0.294,1.072,0.48,1.124), (0.428,1.072,0.48,1.124), (0.428,1.072,0.48,1.124), (0.428,1.072,0.48,1.124), (0.428,1.072,0.48,1.248), (1.072,1.072,1.284,1.124), (1.232,1.072,1.284,1.124), (1.232,1.072,1.284,1.124), (1.232,1.072,1.284,1.124), (1.232,1.072,1.416,1.124), (1.364,1.072,1.416,1.124), (1.364,1.072,1.416,1.124), (1.364,1.072,1.416,1.124), (1.364,1.072,1.604,1.124), (1.552,1.072,1.604,1.124), (1.552,1.072,1.604,1.124), (1.552,1.072,1.604,1.124), (1.552,1.072,1.786,1.124), (1.734,1.072,1.786,1.124), (1.734,1.072,1.786,1.53), (2.264,1.072,2.316,1.124), (2.264,1.072,2.468,1.124), (2.416,1.072,2.468,1.124), (2.416,1.072,2.586,1.124), (2.534,1.072,2.586,1.124), (2.534,1.072,2.586,1.124), (2.534,1.072,2.586,1.124), (2.534,1.072,2.696,1.124), (2.644,1.072,2.696,1.124), (2.644,1.072,2.696,1.124), (2.644,1.072,2.696,1.124), (2.644,1.072,2.696,1.148), (3.864,1.072,3.916,1.124), (3.864,1.072,4.026,1.124), (3.974,1.072,4.026,1.124), (3.974,1.072,4.026,1.124), (3.974,1.072,4.026,1.124), (3.974,1.072,4.182,1.124), (4.13,1.072,4.182,1.292), (4.13,1.072,4.182,1.124), (4.13,1.072,4.182,1.124), (4.43,1.072,4.482,1.292), (4.594,1.072,4.646,1.292), (4.594,1.072,4.646,1.124), (4.594,1.072,4.646,1.124), (0.294,1.094,0.346,1.146), (2.644,1.096,2.696,1.204), (0.618,1.124,0.67,1.176), (0.618,1.124,0.67,1.176), (0.618,1.124,0.67,1.176), (0.618,1.124,0.876,1.176), (0.824,1.124,0.876,1.176), (0.824,1.124,0.876,1.176), (0.824,1.124,0.876,1.176), (0.824,1.124,1.01,1.176), (0.958,1.124,1.01,1.344), (5.032,1.152,5.084,1.372), (0.428,1.196,0.48,1.248), (0.428,1.196,0.48,1.286), (0.074,1.234,0.126,1.286), (0.074,1.234,0.126,1.286), (0.074,1.234,0.126,1.286), (0.074,1.234,0.328,1.286), (0.276,1.234,0.328,1.454), (0.428,1.234,0.48,1.286), (0.428,1.234,0.632,1.286), (0.58,1.234,0.632,1.454), (0.58,1.234,0.632,1.286), (0.58,1.234,0.632,1.286), (0.732,1.234,0.784,1.454), (3.852,1.234,3.904,1.454), (4.004,1.234,4.056,1.454), (4.43,1.24,4.482,1.844), (1.95,1.262,2.002,1.314), (1.95,1.262,2.316,1.314), (2.264,1.262,2.316,1.314), (2.264,1.262,2.316,1.314), (2.264,1.262,2.316,1.314), (2.264,1.262,2.426,1.314), (2.374,1.262,2.426,1.314), (2.374,1.262,2.586,1.314), (2.534,1.262,2.586,1.314), (2.534,1.262,2.586,1.314), (2.534,1.262,2.586,1.314), (2.534,1.262,2.696,1.314), (2.644,1.262,2.696,1.314), (2.644,1.262,2.696,1.314), (2.644,1.262,2.696,1.314), (2.644,1.262,2.806,1.314), (2.754,1.262,2.806,1.314), (2.754,1.262,2.806,1.314), (2.754,1.262,2.806,1.314), (2.754,1.262,3.016,1.314), (2.964,1.262,3.016,1.314), (2.964,1.262,3.016,1.314), (2.964,1.262,3.016,1.314), (2.964,1.262,3.286,1.314), (3.234,1.262,3.286,1.314), (3.234,1.262,3.286,1.314), (3.234,1.262,3.286,1.314), (3.234,1.262,3.412,1.314), (3.36,1.262,3.412,1.314), (3.36,1.262,3.412,1.314), (3.36,1.262,3.412,1.314), (3.36,1.262,3.756,1.314), (3.704,1.262,3.756,1.314), (3.704,1.262,3.756,1.314), (3.704,1.262,3.756,1.314), (3.704,1.262,3.756,1.314), (3.704,1.262,3.756,1.314), (3.704,1.262,3.904,1.314), (3.852,1.262,3.904,1.314), (3.852,1.262,3.904,1.314), (4.704,1.262,4.812,1.426), (5.032,1.32,5.084,1.372), (5.032,1.32,5.084,1.372), (5.032,1.32,5.084,1.844), (0.128,1.346,0.18,1.454), (0.428,1.346,0.48,1.454), (2.764,1.372,2.872,1.424), (2.82,1.372,2.872,1.844), (3.154,1.372,3.206,1.424), (3.154,1.372,3.206,1.424), (3.154,1.372,3.262,1.424), (3.154,1.372,3.206,1.844), (3.624,1.372,3.676,1.424), (3.624,1.372,3.676,1.424), (3.624,1.372,3.676,1.424), (3.624,1.372,3.676,1.424), (3.624,1.372,3.676,1.424), (3.624,1.372,3.676,1.424), (3.624,1.372,3.732,1.424), (3.624,1.372,3.676,1.844), (4.76,1.374,4.812,1.844), (0.128,1.402,0.18,1.844), (0.428,1.402,0.48,1.844), (0.732,1.402,0.784,1.454), (0.732,1.402,0.784,1.454), (0.732,1.402,0.784,1.844), (4.004,1.402,4.056,1.454), (4.004,1.402,4.056,1.454), (4.004,1.402,4.056,1.454), (4.004,1.402,4.056,1.454), (4.004,1.402,4.056,1.454), (4.004,1.402,4.056,1.454), (4.004,1.402,4.056,1.844), (2.154,1.472,2.206,1.692), (2.154,1.472,2.206,1.524), (2.154,1.472,2.206,1.524), (2.154,1.472,2.372,1.524), (2.32,1.472,2.372,1.524), (2.32,1.472,2.426,1.524), (2.374,1.472,2.426,1.524), (2.374,1.472,2.578,1.524), (2.526,1.472,2.578,1.524), (2.526,1.472,2.578,1.524), (2.526,1.472,2.634,1.524), (1.546,1.478,1.598,1.698), (1.734,1.478,1.786,1.53), (1.734,1.478,1.894,1.53), (1.842,1.478,1.894,1.53), (1.842,1.478,1.898,1.53), (1.846,1.478,1.898,1.698), (1.094,1.572,1.202,1.624), (1.15,1.572,1.202,1.844), (2.454,1.582,2.506,1.69), (2.454,1.638,2.506,1.844), (1.546,1.646,1.598,1.844), (0,1.792,5.12,2.08), (0.128,1.792,0.18,1.844), (0.128,1.792,0.18,1.844), (0.128,1.792,0.18,1.844), (0.128,1.792,0.18,1.844), (0.128,1.792,0.18,1.844), (0.128,1.792,0.18,1.844), (0.128,1.792,0.18,1.844), (0.128,1.792,0.18,1.844), (0.428,1.792,0.48,1.844), (0.428,1.792,0.48,1.844), (0.428,1.792,0.48,1.844), (0.428,1.792,0.48,1.844), (0.428,1.792,0.48,1.844), (0.428,1.792,0.48,1.844), (0.428,1.792,0.48,1.844), (0.428,1.792,0.48,1.844), (0.732,1.792,0.784,1.844), (0.732,1.792,0.784,1.844), (0.732,1.792,0.784,1.844), (0.732,1.792,0.784,1.844), (0.732,1.792,0.784,1.844), (0.732,1.792,0.784,1.844), (2.82,1.792,2.872,1.844), (2.82,1.792,2.872,1.844), (2.82,1.792,2.872,1.844), (2.82,1.792,2.872,1.844), (2.82,1.792,2.872,1.844), (2.82,1.792,2.872,1.844), (2.82,1.792,2.872,1.844), (2.82,1.792,2.872,1.844), (3.154,1.792,3.206,1.844), (3.154,1.792,3.206,1.844), (3.154,1.792,3.206,1.844), (3.154,1.792,3.206,1.844), (3.154,1.792,3.206,1.844), (3.154,1.792,3.206,1.844), (3.624,1.792,3.676,1.844), (3.624,1.792,3.676,1.844), (4.004,1.792,4.056,1.844), (4.004,1.792,4.056,1.844), (4.76,1.792,4.812,1.844), (4.76,1.792,4.812,1.844), (4.76,1.792,4.812,1.844), (4.76,1.792,4.812,1.844), (4.76,1.792,4.812,1.844), (4.76,1.792,4.812,1.844), (4.76,1.792,4.812,1.844), (4.76,1.792,4.812,1.844), (5.032,1.792,5.084,1.844), (5.032,1.792,5.084,1.844), (5.032,1.792,5.084,1.844), (5.032,1.792,5.084,1.844), (5.032,1.792,5.084,1.844), (5.032,1.792,5.084,1.844)])
R(complex11, boundary, [(0,0,5.12,2.08)])
complex11.add(gdstk.Label('CL0#A', (0.32,0.96), layer=11, texttype=0))
complex11.add(gdstk.Label('CL0#Y', (0.16,0.64), layer=11, texttype=0))
complex11.add(gdstk.Label('CL1#Y', (0.32,1.12), layer=11, texttype=0))
complex11.add(gdstk.Label('CL2#A', (1.44,0.96), layer=11, texttype=0))
complex11.add(gdstk.Label('CL2#B', (1.28,0.96), layer=11, texttype=0))
complex11.add(gdstk.Label('CL2#Y', (0.64,0.96), layer=11, texttype=0))
complex11.add(gdstk.Label('CL3#Y', (0.96,0.96), layer=11, texttype=0))
complex11.add(gdstk.Label('CL4#Y', (1.76,0.96), layer=11, texttype=0))
complex11.add(gdstk.Label('CL5#Y', (3.68,0.64), layer=11, texttype=0))
complex11.add(gdstk.Label('CL6#A', (2.4,0.96), layer=11, texttype=0))
complex11.add(gdstk.Label('CL6#B', (2.08,0.96), layer=11, texttype=0))
complex11.add(gdstk.Label('CL6#Y', (2.56,0.96), layer=11, texttype=0))
complex11.add(gdstk.Label('CL7#A', (3.52,0.96), layer=11, texttype=0))
complex11.add(gdstk.Label('CL7#B', (3.2,0.96), layer=11, texttype=0))
complex11.add(gdstk.Label('CL7#Y', (2.88,0.96), layer=11, texttype=0))
complex11.add(gdstk.Label('CL8#A', (4.96,0.96), layer=11, texttype=0))
complex11.add(gdstk.Label('CL8#B', (4.96,0.8), layer=11, texttype=0))
complex11.add(gdstk.Label('CL8#Y', (4,0.96), layer=11, texttype=0))
complex11.add(gdstk.Label('CL9#A', (4.48,0.96), layer=11, texttype=0))
complex11.add(gdstk.Label('CL9#B', (4.32,0.96), layer=11, texttype=0))
complex11.add(gdstk.Label('CL9#Y', (3.84,0.96), layer=11, texttype=0))

lib.write_gds('COMPLEX11.gds')
